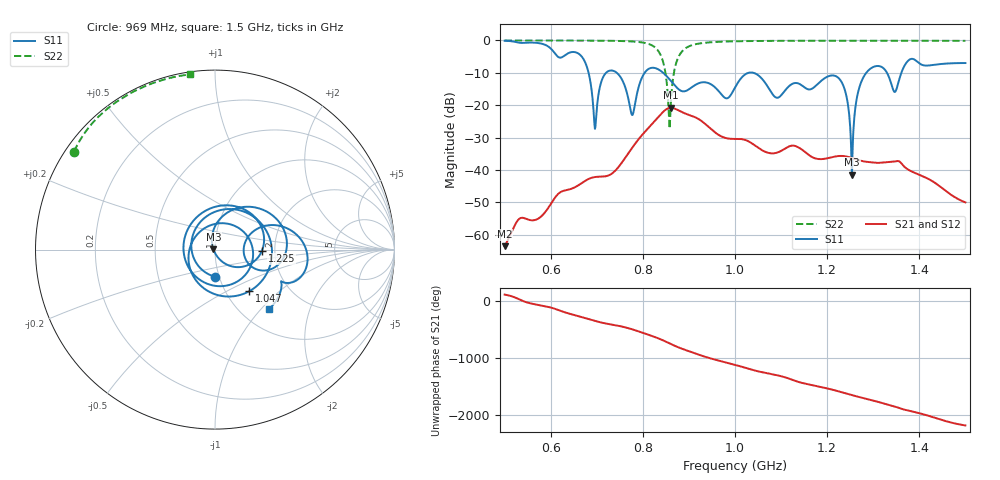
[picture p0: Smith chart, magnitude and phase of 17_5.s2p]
! TOUCHSTONE file generated by CST MICROWAVE STUDIO
! Date and time: Mon Nov 30 08:35:50 2020
! Project name: Scenario_1_Planar_Body_Tissue_Out_of_Line.cst
! Parameters = {dy1=-69.2; L_HA=400; Ltissue=700; MT=2.54; Rad_Dielectric=30; Rad_Lower=7.3; Rad_Upper=30; Wtissue=700; a_HA=580; a_WG=246; b_HA=500; b_WG=121; c_HA=0; c_WG=187; d_feed=85; dx1=866; h_feed=15; h_lower=18; h_upper=40; hfat=3; hgap=25; hmuscle=50; hskin=1.5}
! Header version: 2018
! Port assignment regex: !\s*Touchstone port\s*([0-9]+)\s*=\s*(CST MWS port|CST DS port)\s*([0-9]+|Zmin|Zmax)\s*\(\"(.*)\"\)(\s*mode\s*([0-9]+))?.*
! Touchstone port assignment:
! Touchstone port 1 = CST MWS port 1 ("")
! Touchstone port 2 = CST MWS port 2 ("")
# GHz S DB R 50
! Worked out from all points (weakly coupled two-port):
!   1003 points, 500 MHz to 1.5 GHz, reference 50 ohm
!   highest |S21| = -20.80 dB at 861 MHz (marker M1); lowest = -63.6 dB at 500 MHz (marker M2)
!   lowest |S11| = -41.5 dB at 1.254 GHz (marker M3), VSWR 1.02, Z = 49.2 + j0.0899 ohm
!   |S11| at or under -10 dB: 743.4 MHz to 803.9 MHz (60.51 MHz wide, 7.82 % of centre); 844 MHz to 1.03 GHz (185.5 MHz wide, 19.8 % of centre); 1.04 GHz to 1.285 GHz (245.2 MHz wide, 21.1 % of centre) (the widest 3 of 5)
!   |S22| runs from -27.3 to 0.0 dB; largest |S21 - S12| = 3.3e-05
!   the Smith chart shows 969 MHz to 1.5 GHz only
!   S11 on the Smith chart (normalised r, x): 969 MHz: 0.95, -0.29; 1.047 GHz: 1.29, -0.65; 1.225 GHz: 1.71, -0.02; 1.5 GHz: 1.34, -1.11
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0.5  -0.10 -122.1  -63.59 106.5  -63.58 106.5  -0.01 151.2
0.583  -1.10 -168.1  -53.90 -89.4  -53.90 -89.4  -0.02 145.4
0.667  -4.92 122.3  -44.13 75.6  -44.13 75.6  -0.04 138.4
0.696  -27.33 -34.1  -42.22 6.8  -42.22 6.8  -0.06 135.3
0.723  -9.67 169.5  -41.85 -44.3  -41.85 -44.3  -0.10 131.9
0.777  -23.07 -33.8  -33.14 -141.0  -33.14 -141.0  -0.32 121.3
0.806  -9.62 161.3  -28.01 141.7  -28.01 141.7  -0.83 109.6
0.834  -8.97 71.3  -23.63 60.1  -23.63 60.1  -3.35 83.7
0.861  -12.52 -18.7  -20.80 -38.1  -20.80 -38.1  -18.83 -121.5
0.885  -15.68 -123.6  -22.16 -119.8  -22.16 -119.8  -3.40 -178.1
0.92  -13.30 83.0  -24.21 140.3  -24.21 140.3  -1.01 157.9
0.969  -16.43 -90.2  -29.56 24.2  -29.56 24.2  -0.39 145.1
1  -14.58 107.7  -30.43 -40.5  -30.43 -40.5  -0.27 140.2
1.047  -10.44 -50.4  -32.85 -148.5  -32.85 -148.5  -0.17 134.7
1.09  -17.69 144.6  -34.73 139.5  -34.73 139.5  -0.13 130.6
1.167  -14.92 163.7  -36.03 -34.6  -36.03 -34.6  -0.10 124.2
1.225  -11.65 -1.4  -35.72 -144.2  -35.72 -144.2  -0.09 119.8
1.254  -41.45 173.8  -36.34 149.7  -36.34 149.7  -0.08 117.6
1.281  -10.81 55.7  -37.42 92.8  -37.42 92.8  -0.08 115.5
1.334  -11.27 -24.8  -37.59 -20.3  -37.59 -20.3  -0.08 111.5
1.364  -8.94 22.5  -38.48 -96.5  -38.48 -96.6  -0.09 109.2
1.5  -6.99 -47.8  -50.05 -19.5  -50.05 -19.5  -0.13 98.0
